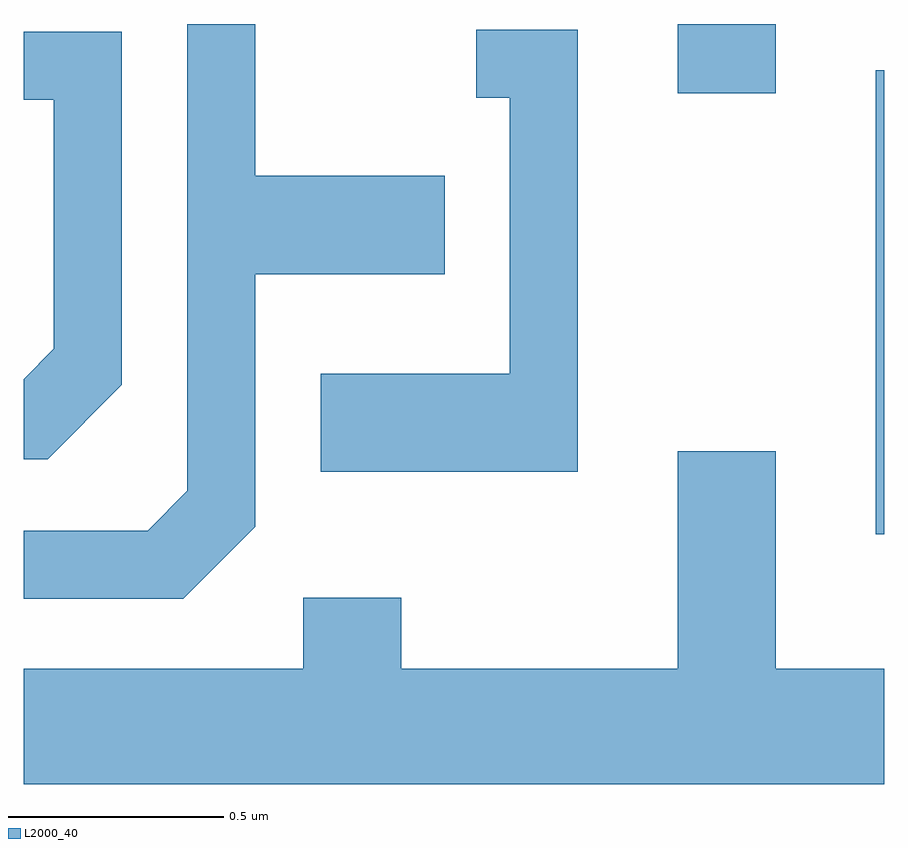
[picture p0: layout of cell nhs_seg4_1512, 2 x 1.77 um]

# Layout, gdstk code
import gdstk
lib = gdstk.Library(unit=1e-6, precision=1e-09)
def R(c, l, rs):  # rectangles x0, y0, x1, y1
    for r in rs: c.add(gdstk.rectangle(r[:2], r[2:], *l))
def P(c, l, *ps):  # polygons
    for p in ps: c.add(gdstk.Polygon(p, *l))
L2000_40 = (2000, 40)

nhs_seg4_1512 = lib.new_cell('nhs_seg4_1512')
R(nhs_seg4_1512, L2000_40, [(198.591,1259.796,198.611,1260.874), (198.131,1260.821,198.359,1260.982)])
P(nhs_seg4_1512, L2000_40, [(197.149,1259.814),(197.149,1260.401),(197.589,1260.401),(197.589,1260.629),(197.149,1260.629),(197.149,1260.982),(196.991,1260.982),(196.991,1259.897),(196.899,1259.804),(196.611,1259.804),(196.611,1259.646),(196.982,1259.646)],
  [(197.899,1260.969),(197.663,1260.969),(197.663,1260.811),(197.741,1260.811),(197.741,1260.169),(197.301,1260.169),(197.301,1259.941),(197.899,1259.941)],
  [(196.839,1260.144),(196.839,1260.964),(196.611,1260.964),(196.611,1260.806),(196.681,1260.806),(196.681,1260.227),(196.611,1260.156),(196.611,1259.971),(196.667,1259.971)],
  [(198.611,1259.484),(198.359,1259.484),(198.359,1259.989),(198.131,1259.989),(198.131,1259.484),(197.489,1259.484),(197.489,1259.649),(197.261,1259.649),(197.261,1259.484),(196.611,1259.484),(196.611,1259.216),(198.611,1259.216)])

lib.write_gds('nhs_seg4_1512.gds')
